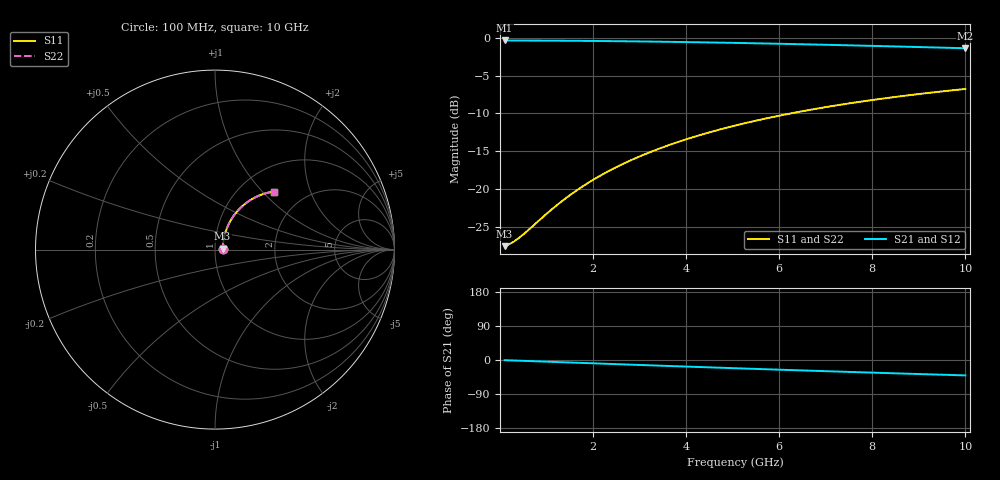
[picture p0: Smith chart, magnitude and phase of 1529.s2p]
# Hz S RI R 50.00
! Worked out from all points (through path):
!   100 points, 100 MHz to 10 GHz, reference 50 ohm
!   highest |S21| = -0.37 dB at 100 MHz (marker M1); lowest = -1.4 dB at 10 GHz (marker M2)
!   group delay of S21, straight-line fit = 11.3 ps
!   lowest |S11| = -27.5 dB at 100 MHz (marker M3), VSWR 1.09, Z = 54.4 + j0.553 ohm
!   |S11| at or under -10 dB: start of sweep to 6.24 GHz
!   |S22| runs from -27.5 to -6.8 dB; largest |S21 - S12| = 0
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1e8  0.0419 0.00508  0.9581 -0.00735  0.9581 -0.00735  0.0419 0.00508
2e8  0.0423 0.0102  0.9577 -0.0147  0.9577 -0.0147  0.0423 0.0102
3e8  0.0427 0.0152  0.9573 -0.022  0.9573 -0.022  0.0427 0.0152
4e8  0.0431 0.0203  0.9568 -0.0294  0.9568 -0.0294  0.0431 0.0203
6e8  0.0441 0.0304  0.9558 -0.044  0.9558 -0.044  0.0441 0.0304
1e9  0.047 0.0504  0.9527 -0.0731  0.9527 -0.0731  0.047 0.0504
1.2e9  0.0488 0.0603  0.9508 -0.0876  0.9508 -0.0876  0.0488 0.0603
1.5e9  0.0521 0.0751  0.9472 -0.1092  0.9472 -0.1092  0.0521 0.0751
1.8e9  0.0561 0.0896  0.943 -0.1306  0.943 -0.1306  0.0561 0.0896
2.1e9  0.0607 0.1039  0.9381 -0.1517  0.9381 -0.1517  0.0607 0.1039
2.5e9  0.0677 0.1226  0.9306 -0.1795  0.9306 -0.1795  0.0677 0.1226
2.9e9  0.0759 0.1406  0.9219 -0.2068  0.9219 -0.2068  0.0759 0.1406
3.4e9  0.0874 0.1624  0.9095 -0.2399  0.9095 -0.2399  0.0874 0.1624
3.8e9  0.0977 0.179  0.8984 -0.2657  0.8984 -0.2657  0.0977 0.179
4.2e9  0.1089 0.1948  0.8863 -0.2907  0.8863 -0.2907  0.1089 0.1948
4.6e9  0.1209 0.2098  0.8734 -0.3149  0.8734 -0.3149  0.1209 0.2098
5.1e9  0.1369 0.2274  0.8561 -0.344  0.8561 -0.344  0.1369 0.2274
5.9e9  0.1645 0.2525  0.826 -0.3877  0.826 -0.3877  0.1645 0.2525
6.7e9  0.1942 0.274  0.7936 -0.4277  0.7936 -0.4277  0.1942 0.274
7.5e9  0.2252 0.2916  0.7594 -0.464  0.7594 -0.464  0.2252 0.2916
8.4e9  0.2613 0.3069  0.7193 -0.5004  0.7193 -0.5004  0.2613 0.3069
1e10  0.3261 0.3228  0.6461 -0.5542  0.6461 -0.5542  0.3261 0.3228
